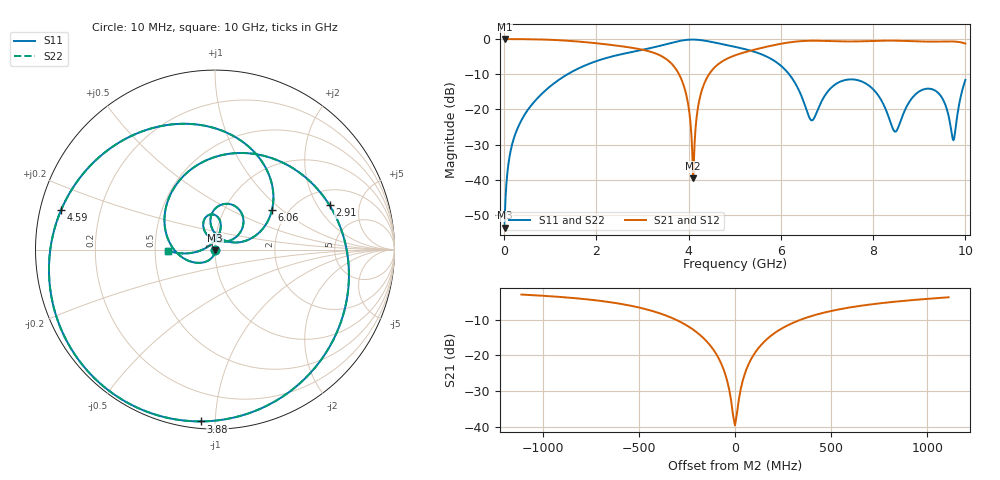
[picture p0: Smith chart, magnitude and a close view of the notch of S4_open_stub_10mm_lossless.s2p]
! kicad_em_sim: S-parameters of 2 ports, openEMS
# Hz S RI R 50
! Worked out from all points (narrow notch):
!   1000 points, 10 MHz to 10 GHz, reference 50 ohm
!   highest |S21| = 0.00 dB at 10 MHz (marker M1); lowest = -39.6 dB at 4.1 GHz (marker M2)
!   notch at M2: 38.9 dB deep, 185 MHz wide at half that depth
!   lowest |S11| = -53.6 dB at 10 MHz (marker M3), VSWR 1.00, Z = 50.1 - j0.179 ohm
!   |S11| at or under -10 dB: start of sweep to 1.375 GHz; 6.178 GHz to end of sweep
!   |S22| runs from -53.6 to -0.1 dB; largest |S21 - S12| = 3.2e-07
!   S11 on the Smith chart (normalised r, x): 10 MHz: 1.00, -0.00; 2.91 GHz: 2.77, +2.57; 3.88 GHz: 0.04, -0.92; 4.59 GHz: 0.06, +0.13; 6.06 GHz: 1.66, +0.85; 10 GHz: 0.58, -0.01
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1e7  0.00108 -0.00179  0.9995 -0.0146  0.9995 -0.0146  0.00108 -0.00179
1.3e8  -0.00307 -0.0236  0.9813 -0.1888  0.9813 -0.1888  -0.00307 -0.0236
3.8e8  -0.037 -0.0609  0.8469 -0.5265  0.8469 -0.5265  -0.037 -0.0609
1.03e9  -0.221 -0.00881  0.0519 -0.9735  0.0519 -0.9735  -0.221 -0.00881
1.68e9  -0.2411 0.3211  -0.7249 -0.5562  -0.7249 -0.5562  -0.2411 0.3211
2.25e9  0.1033 0.5365  -0.8202 0.1626  -0.8202 0.1626  0.1033 0.5365
2.91e9  0.6382 0.247  -0.2487 0.6811  -0.2487 0.6811  0.6382 0.247
3.34e9  0.7281 -0.3093  0.2447 0.5512  0.2447 0.5512  0.7281 -0.3093
3.88e9  -0.0772 -0.9572  0.2313 -0.0121  0.2313 -0.0121  -0.0772 -0.9572
4.1e9  -0.6048 -0.7752  0.00598 0.0086  0.00598 0.0086  -0.6048 -0.7752
4.27e9  -0.8594 -0.4389  -0.0683 0.1582  -0.0683 0.1582  -0.8594 -0.4389
4.59e9  -0.8576 0.2203  0.1134 0.3955  0.1134 0.3955  -0.8576 0.2203
5.01e9  -0.4095 0.6573  0.5101 0.2934  0.5101 0.2934  -0.4095 0.6573
5.56e9  0.1659 0.5916  0.6967 -0.2585  0.6967 -0.2585  0.1659 0.5916
6.06e9  0.3169 0.2186  0.352 -0.7977  0.352 -0.7977  0.3169 0.2186
6.67e9  0.0358 0.0599  -0.537 -0.7804  -0.537 -0.7804  0.0358 0.0599
7.45e9  0.0765 0.2545  -0.9004 0.2098  -0.9004 0.2098  0.0765 0.2545
8.34e9  0.0624 0.0447  -0.00727 0.9498  -0.00727 0.9498  0.0624 0.0447
8.5e9  0.00511 0.0489  0.2282 0.9204  0.2282 0.9204  0.00511 0.0489
9.27e9  -0.00458 0.1945  0.9113 0.1234  0.9113 0.1234  -0.00458 0.1945
9.74e9  -0.0237 0.0279  0.7189 -0.5805  0.7189 -0.5805  -0.0237 0.0279
1e10  -0.263 -0.00631  0.2905 -0.8143  0.2905 -0.8143  -0.263 -0.00631
